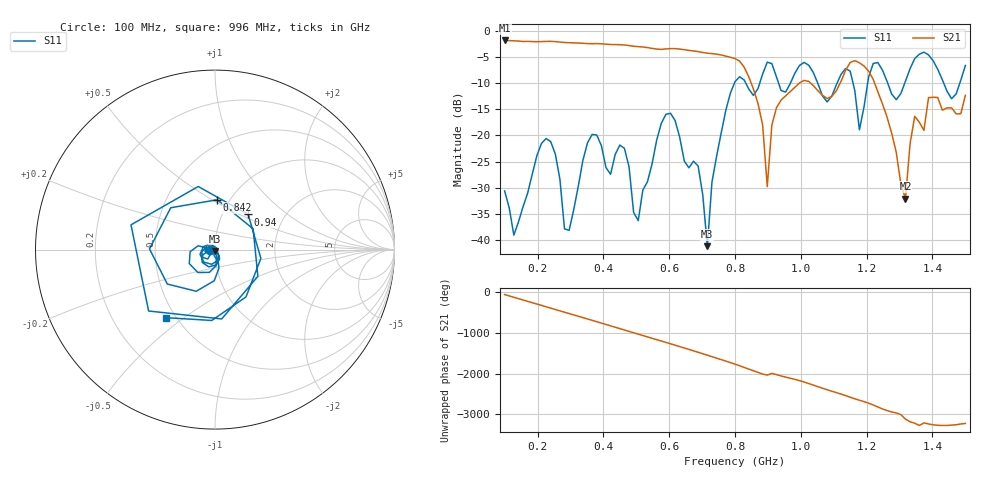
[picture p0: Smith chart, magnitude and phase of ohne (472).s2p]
! NanoVNA-App
! Date: 2025-09-25 14:24:28
! Start: 100MHz Stop: 1,5GHz Points: 101
! S-Parameter data: F S11 S21 S12 S22
# Hz S RI R 50
!  Frequency  S11_Real  S11_Imag  S21_Real  S21_Imag  S12_Real  S12_Imag  S22_Real  S22_Imag
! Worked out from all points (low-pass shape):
!   101 points, 100 MHz to 1.5 GHz, reference 50 ohm
!   highest |S21| = -1.79 dB at 100 MHz (marker M1); lowest = -32.1 dB at 1.318 GHz (marker M2)
!   |S21| within 3 dB of the highest: start of sweep to 772.2 MHz
!   lowest |S11| = -41.2 dB at 716 MHz (marker M3), VSWR 1.02, Z = 49.7 - j0.829 ohm
!   |S11| at or under -10 dB: start of sweep to 798 MHz; 833 MHz to 875.1 MHz (42.1 MHz wide, 4.93 % of centre); 1.051 GHz to 1.11 GHz (58.49 MHz wide, 5.41 % of centre)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
!   S12 and S22 are empty: the file has one direction only
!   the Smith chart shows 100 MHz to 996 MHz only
!   S11 on the Smith chart (normalised r, x): 100 MHz: 0.94, -0.01; 842 MHz: 0.88, +0.53; 940 MHz: 1.32, +0.56; 996 MHz: 0.44, -0.43
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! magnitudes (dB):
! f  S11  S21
! 100 MHz  -30.6  -1.8
! 128 MHz  -39.1  -1.9
! 226 MHz  -20.6  -2.0
! 296 MHz  -38.2  -2.2
! 338 MHz  -24.7  -2.3
! 464 MHz  -22.5  -2.7
! 506 MHz  -36.3  -3.0
! 576 MHz  -17.7  -3.5
! 688 MHz  -25.9  -3.9
! 716 MHz  -41.2  -4.2
! 800 MHz  -9.7  -5.3
! 842 MHz  -11.1  -8.8
! 898 MHz  -6.0  -29.8
! 940 MHz  -11.4  -13.2
! 996 MHz  -6.6  -9.9
! 1.038 GHz  -7.9  -10.4
! 1.178 GHz  -18.9  -6.1
! 1.22 GHz  -6.2  -9.3
! 1.276 GHz  -12.1  -19.6
! 1.318 GHz  -9.6  -32.1
! 1.346 GHz  -5.3  -16.3
! 1.5 GHz  -6.6  -12.3
